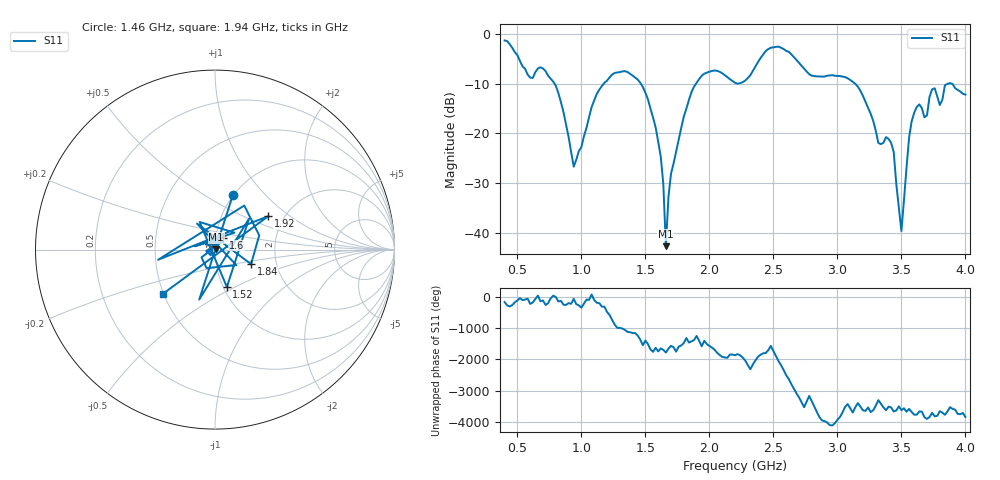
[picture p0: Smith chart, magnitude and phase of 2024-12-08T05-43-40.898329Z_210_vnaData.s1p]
!Created with skrf (http://scikit-rf.org).
# Hz S RI R 50.0
!freq ReS11 ImS11
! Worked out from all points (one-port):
!   181 points, 400 MHz to 4 GHz, reference 50 ohm
!   lowest |S11| = -42.7 dB at 1.66 GHz (marker M1), VSWR 1.01, Z = 50.7 + j0.227 ohm
!   |S11| at or under -10 dB: 789.2 MHz to 1.175 GHz (386.1 MHz wide, 39.3 % of centre); 1.464 GHz to 1.896 GHz (432.1 MHz wide, 25.7 % of centre); 3.138 GHz to 3.869 GHz (731.6 MHz wide, 20.9 % of centre) (the widest 3 of 5)
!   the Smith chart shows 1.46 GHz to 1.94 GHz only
!   S11 on the Smith chart (normalised r, x): 1.46 GHz: 0.99, +0.68; 1.52 GHz: 1.04, -0.46; 1.6 GHz: 1.09, +0.15; 1.84 GHz: 1.48, -0.25; 1.92 GHz: 1.66, +0.71; 1.94 GHz: 0.50, -0.29
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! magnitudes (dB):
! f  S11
! 400 MHz  -1.3
! 600 MHz  -8.8
! 720 MHz  -7.5
! 860 MHz  -15.8
! 940 MHz  -26.7
! 1.12 GHz  -12.1
! 1.3 GHz  -7.7
! 1.46 GHz  -9.8
! 1.52 GHz  -13.2
! 1.6 GHz  -21.7
! 1.64 GHz  -30.2
! 1.66 GHz  -42.7
! 1.7 GHz  -28.2
! 1.76 GHz  -21.2
! 1.84 GHz  -13.3
! 1.92 GHz  -9.1
! 1.94 GHz  -8.4
! 2.2 GHz  -9.8
! 2.48 GHz  -2.8
! 2.66 GHz  -4.7
! 3.1 GHz  -9.3
! 3.32 GHz  -22.0
! 3.42 GHz  -21.9
! 3.5 GHz  -39.7
! 3.56 GHz  -20.9
! 3.7 GHz  -16.4
! 3.74 GHz  -11.2
! 4 GHz  -12.2
